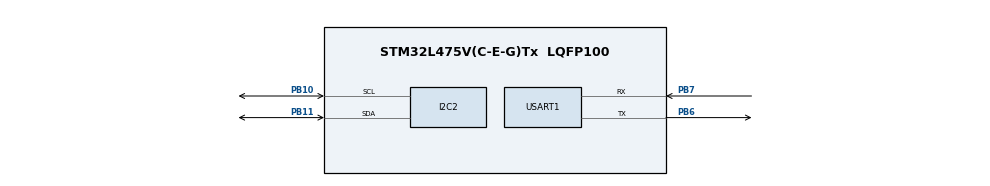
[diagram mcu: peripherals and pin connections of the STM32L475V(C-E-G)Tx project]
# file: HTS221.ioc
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I2C2.Timing=0x00100D14
Mcu.Family=STM32L4
Mcu.Name=STM32L475V(C-E-G)Tx
Mcu.Package=LQFP100
NVIC.I2C2_ER_IRQn=true\:0\:0\:false\:false\:true\:true\:true\:true
NVIC.I2C2_EV_IRQn=true\:0\:0\:false\:false\:true\:true\:true\:true
NVIC.PriorityGroup=NVIC_PRIORITYGROUP_4
PB10.Mode=I2C
PB10.Signal=I2C2_SCL
PB11.Mode=I2C
PB11.Signal=I2C2_SDA
PB6.Mode=Asynchronous
PB6.Signal=USART1_TX
PB7.Mode=Asynchronous
PB7.Signal=USART1_RX
ProjectManager.HeapSize=0x200
ProjectManager.StackSize=0x400
ProjectManager.TargetToolchain=STM32CubeIDE
RCC.HSE_VALUE=8000000
RCC.HSI_VALUE=16000000
RCC.LSE_VALUE=32768
RCC.MSI_VALUE=4000000
RCC.VCOOutputFreq_Value=32000000
USART1.VirtualMode-Asynchronous=VM_ASYNC
board=custom

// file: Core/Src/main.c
/* USER CODE BEGIN Header */
/**
  ******************************************************************************
  * @file           : main.c
  * @brief          : Main program body
  ******************************************************************************
  * @attention
  *
  * Copyright (c) 2025 STMicroelectronics.
  * All rights reserved.
  *
  * This software is licensed under terms that can be found in the LICENSE file
  * in the root directory of this software component.
  * If no LICENSE file comes with this software, it is provided AS-IS.
  *
  ******************************************************************************
  */
/* USER CODE END Header */
#include "main.h"
#include "i2c.h"
#include "usart.h"
#include "gpio.h"

/* USER CODE BEGIN Includes */
#include "hts221.h"
#include "fifo.h"
/* USER CODE END Includes */

/* USER CODE BEGIN PD */
#define HAL_ARBITRARY_DELAY 0xFFFF

// Blocking I2C definitions
// Arbitrary number of trials
#define NUMBER_TRIALS 5
/* USER CODE END PD */

void SystemClock_Config(void);

/* USER CODE BEGIN 0 */
float celsius_to_farenheit(float degrees_celsius)
{
  return (9.0 / 5.0) * degrees_celsius + 32.0;
}
/* USER CODE END 0 */

int main(void)
{

  /* MCU Configuration--------------------------------------------------------*/

  /* Reset of all peripherals, Initializes the Flash interface and the Systick. */
  HAL_Init();

  /* Configure the system clock */
  SystemClock_Config();

  /* Initialize all configured peripherals */
  MX_GPIO_Init();
  MX_I2C2_Init();
  MX_USART1_UART_Init();

  /* Infinite loop */
  /* USER CODE BEGIN WHILE */

  // Wait until HTS221 is ready for communication
  if (HAL_I2C_IsDeviceReady(&hi2c2, HTS221_READ_ADDR, NUMBER_TRIALS, HAL_ARBITRARY_DELAY) != HAL_OK)
  {
    printf("HTS221 failed to setup.\r\n");
    Error_Handler();
  }
  printf("HTS221 is ready.\r\n");

  // Check device identity
  uint8_t identity = hts221_read_register_blocking(&hi2c2, WHO_AM_I);
  printf("HTS221 Identity: %x\r\n", identity);
  if (identity != 0xBC)
  {
    printf("HTS221 identity is invalid. Exiting.\r\n");
    Error_Handler();
  }

  // Write to registers
  hts221_write_register_blocking(&hi2c2, CTRL_REG1, 0x81);  // power on HTS221 and set output rate to 1 Hz
  hts221_write_register_blocking(&hi2c2, CTRL_REG2, 0x80);  // refresh content of internal registers

  // Initialize temperature calibration variables
  hts221_initialize_temperature_calibration(&hi2c2);

  // Temperature variables
  static int16_t prev_adc = 0;
  static int16_t curr_adc = 0;
  static float degrees_celsius;
  static float degrees_farenheit;

  // Initialize the FIFO that buffers temperature ADC data
  fifo_init();

  // Start reading the temperature via non-blocking interrupts
  HAL_I2C_Mem_Read_IT(&hi2c2, HTS221_READ_ADDR, TEMP_OUT_READ, REG_ADDR_SIZE, &fifo_buffer[fifo_write], DATA_SIZE2);

  while (1)
  {
    /* USER CODE END WHILE */

    /* USER CODE BEGIN 3 */
    if(fifo_read != fifo_write)
    {
      // Disable interrupts before reading FIFO
      HAL_NVIC_DisableIRQ(I2C2_EV_IRQn);

      // Read temperature from buffer
      // FIFO will be filled with alternating TEMP_OUT_L and TEMP_OUT_H bytes
      curr_adc = fifo_buffer[fifo_read];
      fifo_read = (fifo_read + DATA_SIZE1) % FIFO_SIZE;
      curr_adc |= (fifo_buffer[fifo_read] << CHAR_BIT);
      fifo_read = (fifo_read + DATA_SIZE1) % FIFO_SIZE;

      // Re-enable interrupts after reading FIFO
      HAL_NVIC_EnableIRQ(I2C2_EV_IRQn);

      // Print temperature if the reading changed
      if(curr_adc != prev_adc)
      {
        // Convert ADC to celsius and farenheit values
        degrees_celsius = hts221_convert_temperature(curr_adc);
        degrees_farenheit = celsius_to_farenheit(degrees_celsius);

        // Use hex escaped symbols to print degree character
        printf("Temperature: %.2f \xf8\x43 / %.2f \xf8\x46\r\n", degrees_celsius, degrees_farenheit);
        prev_adc = curr_adc;
      }
    }
  }
  /* USER CODE END 3 */
}

void SystemClock_Config(void)
{
  RCC_OscInitTypeDef RCC_OscInitStruct = {0};
  RCC_ClkInitTypeDef RCC_ClkInitStruct = {0};

  /** Configure the main internal regulator output voltage
  */
  if (HAL_PWREx_ControlVoltageScaling(PWR_REGULATOR_VOLTAGE_SCALE1) != HAL_OK)
  {
    Error_Handler();
  }

  /** Initializes the RCC Oscillators according to the specified parameters
  * in the RCC_OscInitTypeDef structure.
  */
  RCC_OscInitStruct.OscillatorType = RCC_OSCILLATORTYPE_MSI;
  RCC_OscInitStruct.MSIState = RCC_MSI_ON;
  RCC_OscInitStruct.MSICalibrationValue = 0;
  RCC_OscInitStruct.MSIClockRange = RCC_MSIRANGE_6;
  RCC_OscInitStruct.PLL.PLLState = RCC_PLL_NONE;
  if (HAL_RCC_OscConfig(&RCC_OscInitStruct) != HAL_OK)
  {
    Error_Handler();
  }

  /** Initializes the CPU, AHB and APB buses clocks
  */
  RCC_ClkInitStruct.ClockType = RCC_CLOCKTYPE_HCLK|RCC_CLOCKTYPE_SYSCLK
                              |RCC_CLOCKTYPE_PCLK1|RCC_CLOCKTYPE_PCLK2;
  RCC_ClkInitStruct.SYSCLKSource = RCC_SYSCLKSOURCE_MSI;
  RCC_ClkInitStruct.AHBCLKDivider = RCC_SYSCLK_DIV1;
  RCC_ClkInitStruct.APB1CLKDivider = RCC_HCLK_DIV1;
  RCC_ClkInitStruct.APB2CLKDivider = RCC_HCLK_DIV1;

  if (HAL_RCC_ClockConfig(&RCC_ClkInitStruct, FLASH_LATENCY_0) != HAL_OK)
  {
    Error_Handler();
  }
}

/* USER CODE BEGIN 4 */
void HAL_I2C_MemRxCpltCallback(I2C_HandleTypeDef *hi2c)
{
  fifo_write = (fifo_write + DATA_SIZE2)  % FIFO_SIZE;
  HAL_I2C_Mem_Read_IT(&hi2c2, HTS221_READ_ADDR, TEMP_OUT_READ, REG_ADDR_SIZE, &fifo_buffer[fifo_write], DATA_SIZE2);
}
/* USER CODE END 4 */

void Error_Handler(void)
{
  __disable_irq();
  while (1)
  {
  }
}
